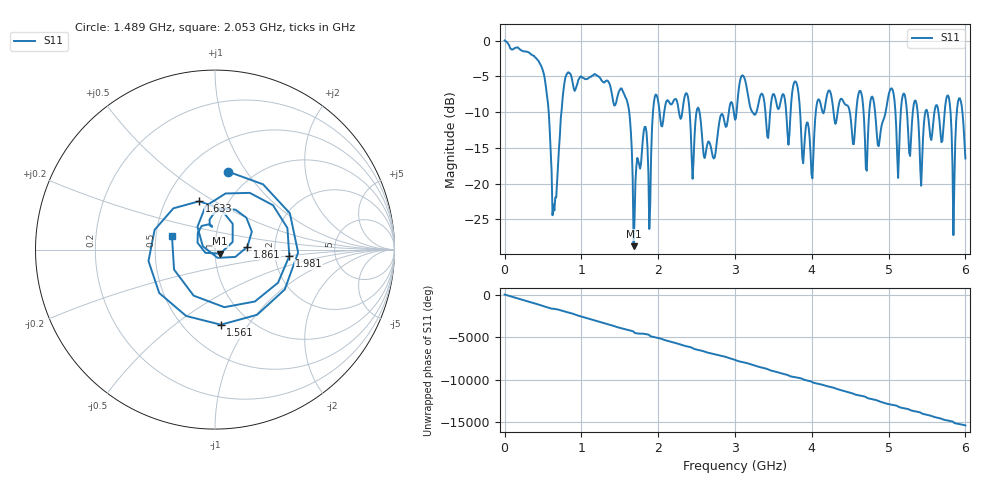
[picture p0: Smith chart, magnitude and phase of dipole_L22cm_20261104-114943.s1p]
! Dipole length 22 cm, measured 20261104-114943
# GHZ S RI R 50.000000000000
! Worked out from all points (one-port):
!   501 points, 1 MHz to 6 GHz, reference 50 ohm
!   lowest |S11| = -28.8 dB at 1.681 GHz (marker M1), VSWR 1.08, Z = 52.9 - j2.38 ohm
!   |S11| at or under -10 dB: 1.623 GHz to 1.932 GHz (308.9 MHz wide, 17.4 % of centre); 2.539 GHz to 2.92 GHz (381 MHz wide, 14 % of centre); 3.848 GHz to 4.052 GHz (204.5 MHz wide, 5.18 % of centre)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
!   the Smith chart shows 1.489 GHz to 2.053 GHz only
!   S11 on the Smith chart (normalised r, x): 1.489 GHz: 0.77, +0.83; 1.561 GHz: 0.74, -0.75; 1.633 GHz: 0.73, +0.43; 1.861 GHz: 1.44, +0.05; 1.981 GHz: 2.40, -0.21; 2.053 GHz: 0.61, +0.10
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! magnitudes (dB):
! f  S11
! 1 MHz  0.0
! 492.9 MHz  -4.0
! 648.9 MHz  -23.8
! 756.9 MHz  -7.9
! 1.489 GHz  -7.1
! 1.501 GHz  -6.9
! 1.561 GHz  -7.5
! 1.633 GHz  -10.9
! 1.681 GHz  -28.8
! 1.861 GHz  -14.8
! 1.981 GHz  -7.6
! 2.053 GHz  -12.0
! 2.257 GHz  -9.0
! 2.377 GHz  -7.4
! 2.449 GHz  -19.3
! 3.001 GHz  -11.1
! 3.096 GHz  -4.8
! 3.696 GHz  -14.6
! 3.756 GHz  -6.4
! 3.996 GHz  -18.7
! 4.08 GHz  -8.3
! 4.5 GHz  -10.3
! 5.04 GHz  -6.7
! 5.256 GHz  -13.0
! 5.772 GHz  -7.6
! 5.844 GHz  -27.2
! 5.928 GHz  -8.1
! 6 GHz  -16.5
